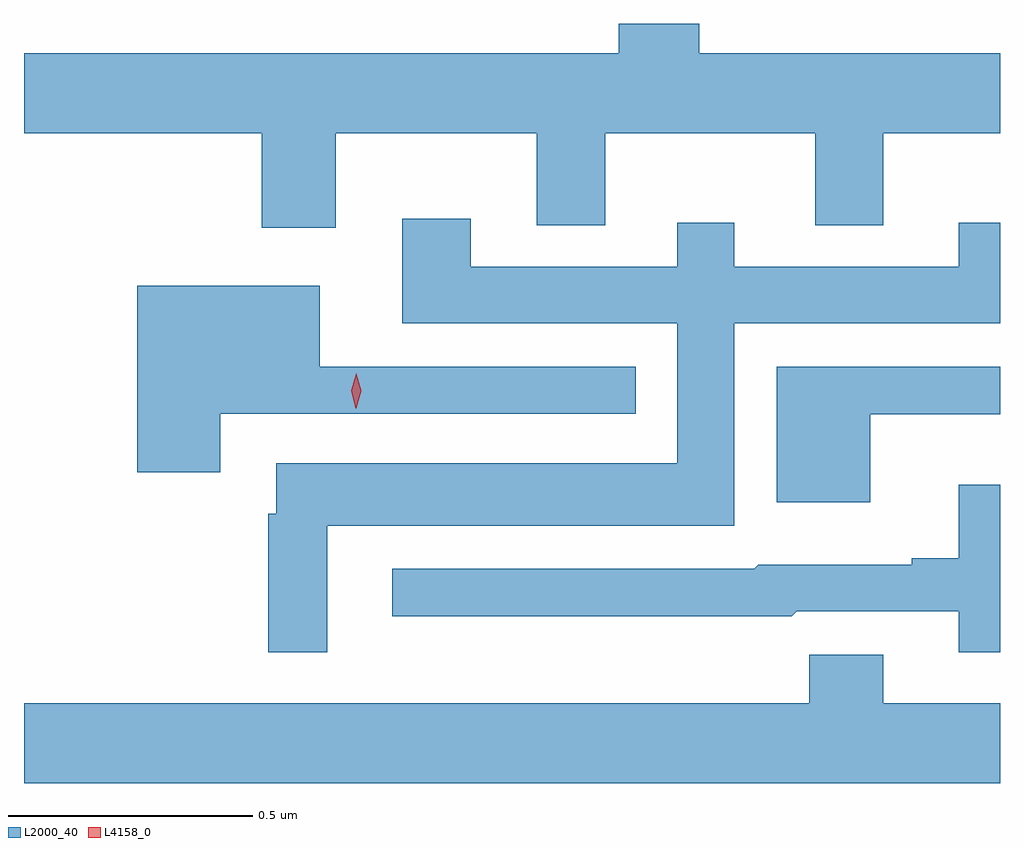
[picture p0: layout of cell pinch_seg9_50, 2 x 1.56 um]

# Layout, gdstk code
import gdstk
lib = gdstk.Library(unit=1e-6, precision=1e-09)
def P(c, l, *ps):  # polygons
    for p in ps: c.add(gdstk.Polygon(p, *l))
L2000_40 = (2000, 40)
L4158_0 = (4158, 0)

pinch_seg9_50 = lib.new_cell('pinch_seg9_50')
P(pinch_seg9_50, L2000_40, [(921.649,1197.752),(922.061,1197.752),(922.061,1197.563),(922.201,1197.563),(922.201,1197.752),(922.631,1197.752),(922.631,1197.563),(922.771,1197.563),(922.771,1197.752),(923.01,1197.752),(923.01,1197.916),(922.394,1197.916),(922.394,1197.976),(922.229,1197.976),(922.229,1197.916),(921.01,1197.916),(921.01,1197.752),(921.497,1197.752),(921.497,1197.558),(921.649,1197.558)],
  [(921.631,1196.948),(922.465,1196.948),(922.465,1197.362),(923.01,1197.362),(923.01,1197.568),(922.925,1197.568),(922.925,1197.478),(922.465,1197.478),(922.465,1197.568),(922.349,1197.568),(922.349,1197.478),(921.925,1197.478),(921.925,1197.577),(921.785,1197.577),(921.785,1197.362),(922.349,1197.362),(922.349,1197.076),(921.527,1197.076),(921.527,1196.972),(921.51,1196.972),(921.51,1196.688),(921.631,1196.688)],
  [(921.412,1197.177),(922.264,1197.177),(922.264,1197.273),(921.616,1197.273),(921.616,1197.439),(921.242,1197.439),(921.242,1197.057),(921.412,1197.057)],
  [(922.744,1197.176),(923.01,1197.176),(923.01,1197.273),(922.553,1197.273),(922.553,1196.996),(922.744,1196.996)],
  [(923.01,1197.031),(922.925,1197.031),(922.925,1196.881),(922.829,1196.881),(922.829,1196.868),(922.515,1196.868),(922.506,1196.859),(921.765,1196.859),(921.765,1196.762),(922.583,1196.762),(922.593,1196.772),(922.925,1196.772),(922.925,1196.688),(923.01,1196.688)],
  [(923.01,1196.584),(922.771,1196.584),(922.771,1196.683),(922.619,1196.683),(922.619,1196.584),(921.01,1196.584),(921.01,1196.42),(923.01,1196.42)])
P(pinch_seg9_50, L4158_0, [(921.69,1197.187),(921.69,1197.188),(921.681,1197.224),(921.691,1197.259),(921.691,1197.26),(921.691,1197.259),(921.701,1197.224),(921.691,1197.188)])

lib.write_gds('pinch_seg9_50.gds')
